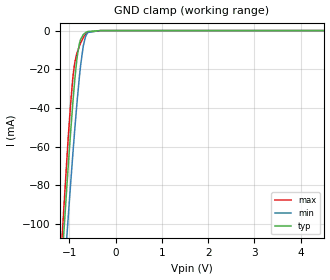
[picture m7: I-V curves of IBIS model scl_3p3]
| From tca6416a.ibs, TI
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|   scl_3p3 Model
[Model]   scl_3p3
Model_type   Input
Vinl = 0.99
Vinh = 2.31
|   typ   min   max
|   (nom PVT)   (fast PVT)   (slow PVT)
C_comp   1.371e-12   1.310e-12   1.465e-12
[Model spec]
|subparameter
Vinl   0.99   0.9   1.08
Vinh   2.31   2.1   2.52
| Where nom  PVT is Nominal Process, 3.3V, 27C
|   Fast PVT is Strong Process,  3.6V, -40C
|   Slow PVT is Weak Process,   3V, 106C
[Voltage Range]   3.3   3   3.6
|Junction Temperature
[Temperature Range]   27   106   -40
[Power Clamp Reference]   3.3   3   3.6
[GND Clamp Reference]   0   0   0
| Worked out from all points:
|   GND clamp passes 1 mA (typ) near -0.65 V on its own axis
[GND Clamp]
|   Voltage   I(typ)   I(min)   I(max)
-3.3V     -1.028A    -995.4mA   -1.081A
-1.165V   -120.7mA   -144.7mA   -109.3mA
-1.036V   -73.6mA    -99.78mA   -59.1mA
-974.4mV  -52.8mA    -79.47mA   -38.1mA
-927.3mV  -37.9mA    -64.41mA   -24.89mA
-881.1mV  -24.79mA   -50.28mA   -16.32mA
-828mV    -12.91mA   -35.15mA   -11.02mA
-780mV    -6.35mA    -22.97mA   -7.755mA
-702mV    -2.143mA   -8.242mA   -3.701mA
-636mV    -848.7uA   -2.27mA    -1.516mA
-330mV    -1.205uA   -2.136uA   -944.2nA
6.6V      0A         0A         0A
[POWER Clamp]
|   Voltage   I(typ)   I(min)   I(max)
-3.3V     0A         0A         0A
0V        0A         0A         0A
6.6V      0A         0A         0A
